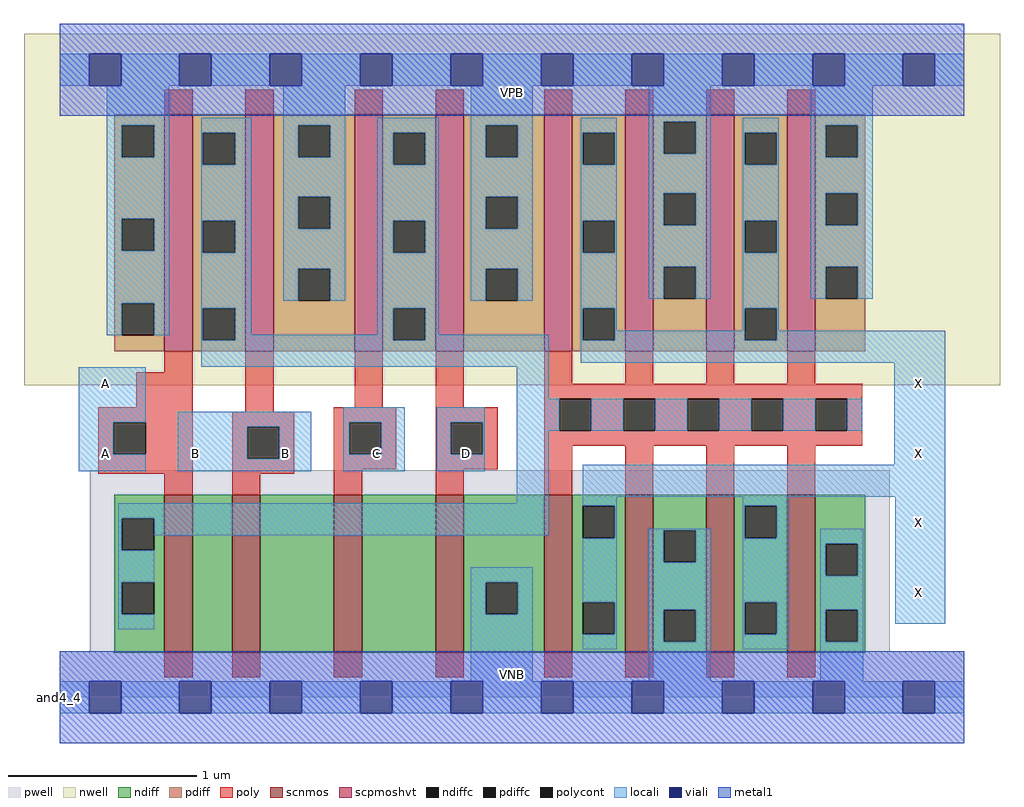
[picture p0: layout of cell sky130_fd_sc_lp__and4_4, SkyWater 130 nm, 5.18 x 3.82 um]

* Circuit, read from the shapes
.subckt sky130_fd_sc_lp__and4_4 A B C D VGND VNB VPB VPWR X
XM1 n1 A n2 VNB sky130_fd_pr__nfet_01v8 w=0.84 l=0.15
XM2 n3 B n1 VNB sky130_fd_pr__nfet_01v8 w=0.84 l=0.15
XM3 n4 C n3 VNB sky130_fd_pr__nfet_01v8 w=0.84 l=0.15
XM4 VGND D n4 VNB sky130_fd_pr__nfet_01v8 w=0.84 l=0.15
XM5 X n2 VGND VNB sky130_fd_pr__nfet_01v8 w=0.84 l=0.15 m=4
XM6 n2 A VPWR VPB sky130_fd_pr__pfet_01v8_hvt w=1.26 l=0.15
XM7 VPWR B n2 VPB sky130_fd_pr__pfet_01v8_hvt w=1.26 l=0.15
XM8 n2 C VPWR VPB sky130_fd_pr__pfet_01v8_hvt w=1.26 l=0.15
XM9 VPWR D n2 VPB sky130_fd_pr__pfet_01v8_hvt w=1.26 l=0.15
XM10 X n2 VPWR VPB sky130_fd_pr__pfet_01v8_hvt w=1.26 l=0.15 m=4
.ends

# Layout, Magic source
magic
tech sky130A
magscale 1 2
<< nwell >>
rect -38 331 998 704
<< pwell >>
rect 32 49 881 241
rect 0 0 960 49
<< scnmos >>
rect 111 47 141 215
rect 183 47 213 215
rect 291 47 321 215
rect 399 47 429 215
rect 514 47 544 215
rect 600 47 630 215
rect 686 47 716 215
rect 772 47 802 215
<< scpmoshvt >>
rect 111 367 141 619
rect 197 367 227 619
rect 313 367 343 619
rect 399 367 429 619
rect 514 367 544 619
rect 600 367 630 619
rect 686 367 716 619
rect 772 367 802 619
<< ndiff >>
rect 58 190 111 215
rect 58 156 66 190
rect 100 156 111 190
rect 58 122 111 156
rect 58 88 66 122
rect 100 88 111 122
rect 58 47 111 88
rect 141 47 183 215
rect 213 47 291 215
rect 321 47 399 215
rect 429 122 514 215
rect 429 88 452 122
rect 486 88 514 122
rect 429 47 514 88
rect 544 203 600 215
rect 544 169 555 203
rect 589 169 600 203
rect 544 101 600 169
rect 544 67 555 101
rect 589 67 600 101
rect 544 47 600 67
rect 630 177 686 215
rect 630 143 641 177
rect 675 143 686 177
rect 630 93 686 143
rect 630 59 641 93
rect 675 59 686 93
rect 630 47 686 59
rect 716 203 772 215
rect 716 169 727 203
rect 761 169 772 203
rect 716 101 772 169
rect 716 67 727 101
rect 761 67 772 101
rect 716 47 772 67
rect 802 163 855 215
rect 802 129 813 163
rect 847 129 855 163
rect 802 93 855 129
rect 802 59 813 93
rect 847 59 855 93
rect 802 47 855 59
<< pdiff >>
rect 58 607 111 619
rect 58 573 66 607
rect 100 573 111 607
rect 58 508 111 573
rect 58 474 66 508
rect 100 474 111 508
rect 58 418 111 474
rect 58 384 66 418
rect 100 384 111 418
rect 58 367 111 384
rect 141 599 197 619
rect 141 565 152 599
rect 186 565 197 599
rect 141 506 197 565
rect 141 472 152 506
rect 186 472 197 506
rect 141 413 197 472
rect 141 379 152 413
rect 186 379 197 413
rect 141 367 197 379
rect 227 607 313 619
rect 227 573 253 607
rect 287 573 313 607
rect 227 531 313 573
rect 227 497 253 531
rect 287 497 313 531
rect 227 455 313 497
rect 227 421 253 455
rect 287 421 313 455
rect 227 367 313 421
rect 343 599 399 619
rect 343 565 354 599
rect 388 565 399 599
rect 343 506 399 565
rect 343 472 354 506
rect 388 472 399 506
rect 343 413 399 472
rect 343 379 354 413
rect 388 379 399 413
rect 343 367 399 379
rect 429 607 514 619
rect 429 573 452 607
rect 486 573 514 607
rect 429 531 514 573
rect 429 497 452 531
rect 486 497 514 531
rect 429 455 514 497
rect 429 421 452 455
rect 486 421 514 455
rect 429 367 514 421
rect 544 599 600 619
rect 544 565 555 599
rect 589 565 600 599
rect 544 506 600 565
rect 544 472 555 506
rect 589 472 600 506
rect 544 413 600 472
rect 544 379 555 413
rect 589 379 600 413
rect 544 367 600 379
rect 630 611 686 619
rect 630 577 641 611
rect 675 577 686 611
rect 630 535 686 577
rect 630 501 641 535
rect 675 501 686 535
rect 630 457 686 501
rect 630 423 641 457
rect 675 423 686 457
rect 630 367 686 423
rect 716 599 772 619
rect 716 565 727 599
rect 761 565 772 599
rect 716 506 772 565
rect 716 472 727 506
rect 761 472 772 506
rect 716 413 772 472
rect 716 379 727 413
rect 761 379 772 413
rect 716 367 772 379
rect 802 607 855 619
rect 802 573 813 607
rect 847 573 855 607
rect 802 535 855 573
rect 802 501 813 535
rect 847 501 855 535
rect 802 457 855 501
rect 802 423 813 457
rect 847 423 855 457
rect 802 367 855 423
<< ndiffc >>
rect 66 156 100 190
rect 66 88 100 122
rect 452 88 486 122
rect 555 169 589 203
rect 555 67 589 101
rect 641 143 675 177
rect 641 59 675 93
rect 727 169 761 203
rect 727 67 761 101
rect 813 129 847 163
rect 813 59 847 93
<< pdiffc >>
rect 66 573 100 607
rect 66 474 100 508
rect 66 384 100 418
rect 152 565 186 599
rect 152 472 186 506
rect 152 379 186 413
rect 253 573 287 607
rect 253 497 287 531
rect 253 421 287 455
rect 354 565 388 599
rect 354 472 388 506
rect 354 379 388 413
rect 452 573 486 607
rect 452 497 486 531
rect 452 421 486 455
rect 555 565 589 599
rect 555 472 589 506
rect 555 379 589 413
rect 641 577 675 611
rect 641 501 675 535
rect 641 423 675 457
rect 727 565 761 599
rect 727 472 761 506
rect 727 379 761 413
rect 813 573 847 607
rect 813 501 847 535
rect 813 423 847 457
<< poly >>
rect 111 619 141 645
rect 197 619 227 645
rect 313 619 343 645
rect 399 619 429 645
rect 514 619 544 645
rect 600 619 630 645
rect 686 619 716 645
rect 772 619 802 645
rect 111 345 141 367
rect 81 308 141 345
rect 41 292 141 308
rect 197 303 227 367
rect 313 308 343 367
rect 399 308 429 367
rect 514 333 544 367
rect 600 333 630 367
rect 686 333 716 367
rect 772 333 802 367
rect 514 317 852 333
rect 41 258 57 292
rect 91 258 141 292
rect 41 237 141 258
rect 111 215 141 237
rect 183 287 249 303
rect 183 253 199 287
rect 233 253 249 287
rect 183 237 249 253
rect 291 292 357 308
rect 291 258 307 292
rect 341 258 357 292
rect 291 242 357 258
rect 399 292 465 308
rect 399 258 415 292
rect 449 258 465 292
rect 399 242 465 258
rect 514 283 530 317
rect 564 283 598 317
rect 632 283 666 317
rect 700 283 734 317
rect 768 283 802 317
rect 836 283 852 317
rect 514 267 852 283
rect 183 215 213 237
rect 291 215 321 242
rect 399 215 429 242
rect 514 215 544 267
rect 600 215 630 267
rect 686 215 716 267
rect 772 215 802 267
rect 111 21 141 47
rect 183 21 213 47
rect 291 21 321 47
rect 399 21 429 47
rect 514 21 544 47
rect 600 21 630 47
rect 686 21 716 47
rect 772 21 802 47
<< polycont >>
rect 57 258 91 292
rect 199 253 233 287
rect 307 258 341 292
rect 415 258 449 292
rect 530 283 564 317
rect 598 283 632 317
rect 666 283 700 317
rect 734 283 768 317
rect 802 283 836 317
<< locali >>
rect 0 649 31 683
rect 65 649 127 683
rect 161 649 223 683
rect 257 649 319 683
rect 353 649 415 683
rect 449 649 511 683
rect 545 649 607 683
rect 641 649 703 683
rect 737 649 799 683
rect 833 649 895 683
rect 929 649 960 683
rect 50 607 116 649
rect 50 573 66 607
rect 100 573 116 607
rect 50 508 116 573
rect 50 474 66 508
rect 100 474 116 508
rect 50 418 116 474
rect 50 384 66 418
rect 100 384 116 418
rect 150 599 203 615
rect 150 565 152 599
rect 186 565 203 599
rect 150 506 203 565
rect 150 472 152 506
rect 186 472 203 506
rect 150 413 203 472
rect 237 607 303 649
rect 237 573 253 607
rect 287 573 303 607
rect 237 531 303 573
rect 237 497 253 531
rect 287 497 303 531
rect 237 455 303 497
rect 237 421 253 455
rect 287 421 303 455
rect 337 599 402 615
rect 337 565 354 599
rect 388 565 402 599
rect 337 506 402 565
rect 337 472 354 506
rect 388 472 402 506
rect 150 379 152 413
rect 186 385 203 413
rect 337 413 402 472
rect 436 607 502 649
rect 436 573 452 607
rect 486 573 502 607
rect 436 531 502 573
rect 436 497 452 531
rect 486 497 502 531
rect 436 455 502 497
rect 436 421 452 455
rect 486 421 502 455
rect 553 599 591 615
rect 553 565 555 599
rect 589 565 591 599
rect 553 506 591 565
rect 553 472 555 506
rect 589 472 591 506
rect 337 385 354 413
rect 186 379 354 385
rect 388 385 402 413
rect 553 413 591 472
rect 625 611 691 649
rect 625 577 641 611
rect 675 577 691 611
rect 625 535 691 577
rect 625 501 641 535
rect 675 501 691 535
rect 625 457 691 501
rect 625 423 641 457
rect 675 423 691 457
rect 725 599 763 615
rect 725 565 727 599
rect 761 565 763 599
rect 725 506 763 565
rect 725 472 727 506
rect 761 472 763 506
rect 388 379 519 385
rect 150 351 519 379
rect 553 379 555 413
rect 589 389 591 413
rect 725 413 763 472
rect 797 607 863 649
rect 797 573 813 607
rect 847 573 863 607
rect 797 535 863 573
rect 797 501 813 535
rect 847 501 863 535
rect 797 457 863 501
rect 797 423 813 457
rect 847 423 863 457
rect 725 389 727 413
rect 589 379 727 389
rect 761 389 763 413
rect 761 379 940 389
rect 553 355 940 379
rect 20 292 91 350
rect 485 317 519 351
rect 20 258 57 292
rect 20 240 91 258
rect 125 287 267 303
rect 125 253 199 287
rect 233 253 267 287
rect 125 240 267 253
rect 301 292 366 308
rect 301 258 307 292
rect 341 258 366 292
rect 301 240 366 258
rect 400 292 451 308
rect 400 258 415 292
rect 449 258 451 292
rect 400 240 451 258
rect 485 283 530 317
rect 564 283 598 317
rect 632 283 666 317
rect 700 283 734 317
rect 768 283 802 317
rect 836 283 852 317
rect 485 206 519 283
rect 886 247 940 355
rect 62 190 519 206
rect 62 156 66 190
rect 100 172 519 190
rect 555 213 940 247
rect 555 203 591 213
rect 62 122 100 156
rect 589 169 591 203
rect 725 203 773 213
rect 62 88 66 122
rect 62 72 100 88
rect 436 122 502 138
rect 436 88 452 122
rect 486 88 502 122
rect 436 17 502 88
rect 555 101 591 169
rect 589 67 591 101
rect 555 51 591 67
rect 625 177 691 179
rect 625 143 641 177
rect 675 143 691 177
rect 625 93 691 143
rect 625 59 641 93
rect 675 59 691 93
rect 625 17 691 59
rect 725 169 727 203
rect 761 169 773 203
rect 725 101 773 169
rect 725 67 727 101
rect 761 67 773 101
rect 725 51 773 67
rect 807 163 853 179
rect 807 129 813 163
rect 847 129 853 163
rect 807 93 853 129
rect 807 59 813 93
rect 847 59 853 93
rect 887 78 940 213
rect 807 17 853 59
rect 0 -17 31 17
rect 65 -17 127 17
rect 161 -17 223 17
rect 257 -17 319 17
rect 353 -17 415 17
rect 449 -17 511 17
rect 545 -17 607 17
rect 641 -17 703 17
rect 737 -17 799 17
rect 833 -17 895 17
rect 929 -17 960 17
<< viali >>
rect 31 649 65 683
rect 127 649 161 683
rect 223 649 257 683
rect 319 649 353 683
rect 415 649 449 683
rect 511 649 545 683
rect 607 649 641 683
rect 703 649 737 683
rect 799 649 833 683
rect 895 649 929 683
rect 31 -17 65 17
rect 127 -17 161 17
rect 223 -17 257 17
rect 319 -17 353 17
rect 415 -17 449 17
rect 511 -17 545 17
rect 607 -17 641 17
rect 703 -17 737 17
rect 799 -17 833 17
rect 895 -17 929 17
<< metal1 >>
rect 0 683 960 715
rect 0 649 31 683
rect 65 649 127 683
rect 161 649 223 683
rect 257 649 319 683
rect 353 649 415 683
rect 449 649 511 683
rect 545 649 607 683
rect 641 649 703 683
rect 737 649 799 683
rect 833 649 895 683
rect 929 649 960 683
rect 0 617 960 649
rect 0 17 960 49
rect 0 -17 31 17
rect 65 -17 127 17
rect 161 -17 223 17
rect 257 -17 319 17
rect 353 -17 415 17
rect 449 -17 511 17
rect 545 -17 607 17
rect 641 -17 703 17
rect 737 -17 799 17
rect 833 -17 895 17
rect 929 -17 960 17
rect 0 -49 960 -17
<< labels >>
flabel pwell s 0 0 960 49 0 FreeSans 200 0 0 0 VNB
port 6 nsew ground bidirectional
flabel nwell s 0 617 960 666 0 FreeSans 200 0 0 0 VPB
port 7 nsew power bidirectional
rlabel comment s 0 0 0 0 4 and4_4
flabel metal1 s 0 617 960 666 0 FreeSans 340 0 0 0 VPWR
port 8 nsew power bidirectional
flabel metal1 s 0 0 960 49 0 FreeSans 340 0 0 0 VGND
port 5 nsew ground bidirectional
flabel locali s 31 242 65 276 0 FreeSans 340 0 0 0 A
port 1 nsew signal input
flabel locali s 31 316 65 350 0 FreeSans 340 0 0 0 A
port 1 nsew signal input
flabel locali s 127 242 161 276 0 FreeSans 340 0 0 0 B
port 2 nsew signal input
flabel locali s 223 242 257 276 0 FreeSans 340 0 0 0 B
port 2 nsew signal input
flabel locali s 319 242 353 276 0 FreeSans 340 0 0 0 C
port 3 nsew signal input
flabel locali s 415 242 449 276 0 FreeSans 340 0 0 0 D
port 4 nsew signal input
flabel locali s 895 94 929 128 0 FreeSans 340 0 0 0 X
port 9 nsew signal output
flabel locali s 895 168 929 202 0 FreeSans 340 0 0 0 X
port 9 nsew signal output
flabel locali s 895 242 929 276 0 FreeSans 340 0 0 0 X
port 9 nsew signal output
flabel locali s 895 316 929 350 0 FreeSans 340 0 0 0 X
port 9 nsew signal output
<< properties >>
string LEFsite unit
string LEFclass CORE
string FIXED_BBOX 0 0 960 666
string GDS_FILE $PDKPATH/libs.ref/sky130_fd_sc_lp/gds/sky130_fd_sc_lp.gds
string LEFsymmetry X Y R90
string GDS_END 6271550
string GDS_START 6262854
<< end >>
